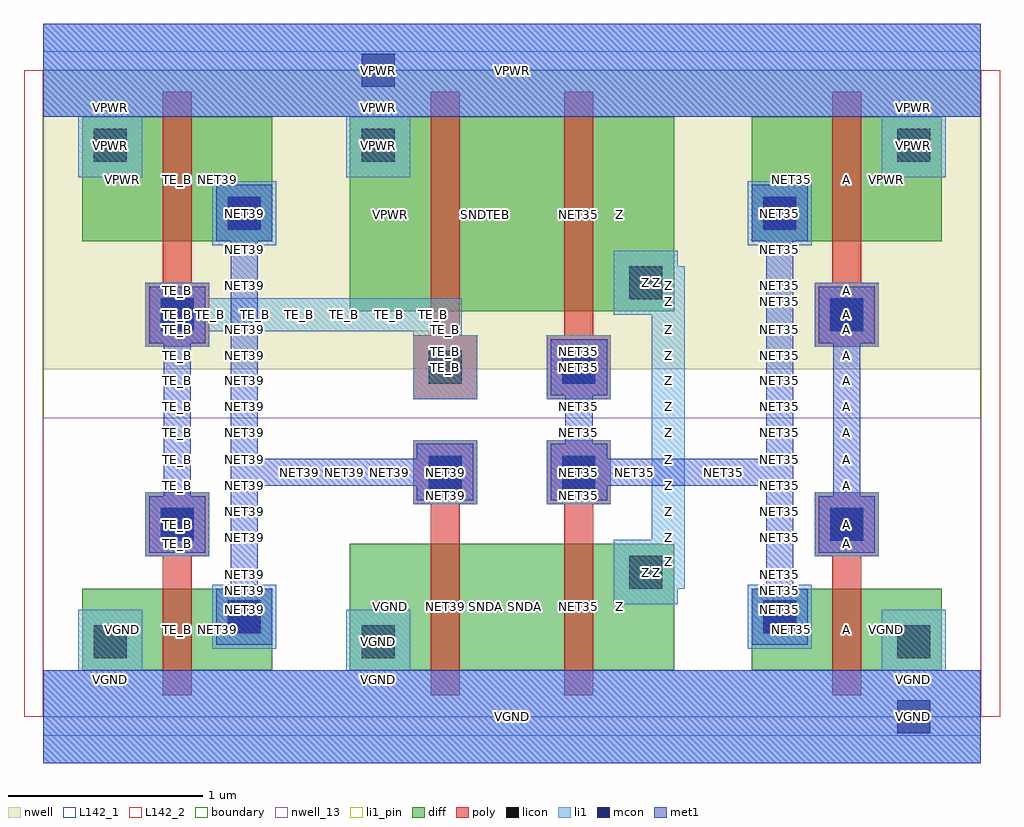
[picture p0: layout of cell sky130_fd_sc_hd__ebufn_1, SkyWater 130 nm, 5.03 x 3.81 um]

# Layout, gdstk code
import gdstk
lib = gdstk.Library(unit=1e-6, precision=1e-09)
def R(c, l, rs):  # rectangles x0, y0, x1, y1
    for r in rs: c.add(gdstk.rectangle(r[:2], r[2:], *l))
def P(c, l, *ps):  # polygons
    for p in ps: c.add(gdstk.Polygon(p, *l))
nwell_13 = (64, 13)
nwell = (64, 20)
diff = (65, 20)
poly = (66, 20)
licon = (66, 44)
li1_pin = (67, 16)
li1 = (67, 20)
mcon = (67, 44)
met1 = (68, 20)
L142_1 = (142, 1)
L142_2 = (142, 2)
boundary = (235, 4)

sky130_fd_sc_hd__ebufn_1 = lib.new_cell('sky130_fd_sc_hd__ebufn_1')
R(sky130_fd_sc_hd__ebufn_1, nwell_13, [(0,0,4.83,1.54)])
R(sky130_fd_sc_hd__ebufn_1, nwell, [(0,1.79,4.83,3.33)])
R(sky130_fd_sc_hd__ebufn_1, diff, [(0.2,0.24,1.18,0.66), (0.2,0.24,0.615,0.66), (0.615,0.24,1.18,0.66), (1.58,0.24,3.25,0.89), (1.58,0.24,1.995,0.89), (1.995,0.24,2.685,0.89), (2.685,0.24,3.25,0.89), (3.65,0.24,4.63,0.66), (3.65,0.24,4.065,0.66), (4.065,0.24,4.63,0.66), (1.58,2.09,3.25,3.09), (1.58,2.09,1.995,3.09), (1.995,2.09,2.685,3.09), (2.685,2.09,3.25,3.09), (0.2,2.45,1.18,3.09), (0.2,2.45,0.615,3.09), (0.615,2.45,1.18,3.09), (3.65,2.45,4.63,3.09), (3.65,2.45,4.065,3.09), (4.065,2.45,4.63,3.09)])
P(sky130_fd_sc_hd__ebufn_1, poly, [(1.995,0.11),(1.995,1.095),(1.905,1.095),(1.905,1.425),(2.235,1.425),(2.235,1.095),(2.145,1.095),(2.145,0.11)],
  [(0.615,0.11),(0.615,0.825),(0.525,0.825),(0.525,1.155),(0.855,1.155),(0.855,0.825),(0.765,0.825),(0.765,0.11)],
  [(0.525,1.905),(0.525,2.235),(0.615,2.235),(0.615,3.22),(0.765,3.22),(0.765,2.235),(0.855,2.235),(0.855,1.905)],
  [(1.905,1.635),(1.905,1.965),(1.995,1.965),(1.995,3.22),(2.145,3.22),(2.145,1.965),(2.235,1.965),(2.235,1.635)],
  [(2.685,0.11),(2.685,1.095),(2.595,1.095),(2.595,1.425),(2.925,1.425),(2.925,1.095),(2.835,1.095),(2.835,0.11)],
  [(2.595,1.635),(2.595,1.965),(2.685,1.965),(2.685,3.22),(2.835,3.22),(2.835,1.965),(2.925,1.965),(2.925,1.635)],
  [(4.065,0.11),(4.065,0.825),(3.975,0.825),(3.975,1.155),(4.305,1.155),(4.305,0.825),(4.215,0.825),(4.215,0.11)],
  [(3.975,1.905),(3.975,2.235),(4.065,2.235),(4.065,3.22),(4.215,3.22),(4.215,2.235),(4.305,2.235),(4.305,1.905)])
R(sky130_fd_sc_hd__ebufn_1, licon, [(0.26,0.3,0.43,0.47), (1.64,0.3,1.81,0.47), (4.4,0.3,4.57,0.47), (0.95,0.43,1.12,0.6), (3.71,0.43,3.88,0.6), (3.02,0.66,3.19,0.83), (0.605,0.905,0.775,1.075), (4.055,0.905,4.225,1.075), (1.985,1.175,2.155,1.345), (2.675,1.175,2.845,1.345), (1.985,1.715,2.155,1.885), (2.675,1.715,2.845,1.885), (0.605,1.985,0.775,2.155), (4.055,1.985,4.225,2.155), (3.02,2.15,3.19,2.32), (0.95,2.51,1.12,2.68), (3.71,2.51,3.88,2.68), (0.26,2.86,0.43,3.03), (1.64,2.86,1.81,3.03), (4.4,2.86,4.57,3.03)])
R(sky130_fd_sc_hd__ebufn_1, li1_pin, [(0,-0.24,4.83,0.24), (3.975,1.905,4.305,2.235), (0,3.09,4.83,3.57)])
P(sky130_fd_sc_hd__ebufn_1, li1_pin, [(2.94,0.58),(2.94,0.91),(3.135,0.91),(3.135,2.07),(2.94,2.07),(2.94,2.4),(3.27,2.4),(3.27,2.32),(3.305,2.32),(3.305,0.66),(3.27,0.66),(3.27,0.58)],
  [(1.905,1.635),(1.905,1.965),(1.985,1.965),(1.985,1.985),(0.855,1.985),(0.855,1.905),(0.525,1.905),(0.525,2.235),(0.855,2.235),(0.855,2.155),(2.155,2.155),(2.155,1.965),(2.235,1.965),(2.235,1.635)])
R(sky130_fd_sc_hd__ebufn_1, li1, [(0.87,0.35,1.2,0.68), (3.63,0.35,3.96,0.68), (0.525,0.825,0.855,1.155), (3.975,0.825,4.305,1.155), (1.905,1.095,2.235,1.425), (2.595,1.095,2.925,1.425), (2.595,1.635,2.925,1.965), (3.975,1.905,4.305,2.235), (1.905,1.965,1.985,1.985), (0.87,2.43,1.2,2.76), (3.63,2.43,3.96,2.76)])
P(sky130_fd_sc_hd__ebufn_1, li1, [(0.18,2.78),(0.18,3.09),(0,3.09),(0,3.57),(4.83,3.57),(4.83,3.09),(4.65,3.09),(4.65,2.78),(4.32,2.78),(4.32,3.09),(1.89,3.09),(1.89,2.78),(1.56,2.78),(1.56,3.09),(0.51,3.09),(0.51,2.78)],
  [(0,-0.24),(0,0.24),(0.18,0.24),(0.18,0.55),(0.51,0.55),(0.51,0.24),(1.56,0.24),(1.56,0.55),(1.89,0.55),(1.89,0.24),(4.32,0.24),(4.32,0.55),(4.65,0.55),(4.65,0.24),(4.83,0.24),(4.83,-0.24)],
  [(1.905,1.635),(1.905,1.965),(1.985,1.965),(1.985,1.985),(0.855,1.985),(0.855,1.905),(0.525,1.905),(0.525,2.235),(0.855,2.235),(0.855,2.155),(2.155,2.155),(2.155,1.965),(2.235,1.965),(2.235,1.635)],
  [(2.94,0.58),(2.94,0.91),(3.135,0.91),(3.135,2.07),(2.94,2.07),(2.94,2.4),(3.27,2.4),(3.27,2.32),(3.305,2.32),(3.305,0.66),(3.27,0.66),(3.27,0.58)])
R(sky130_fd_sc_hd__ebufn_1, mcon, [(4.4,-0.085,4.57,0.085), (0.95,0.43,1.12,0.6), (3.71,0.43,3.88,0.6), (0.605,0.905,0.775,1.075), (4.055,0.905,4.225,1.075), (1.985,1.175,2.155,1.345), (2.675,1.175,2.845,1.345), (2.675,1.715,2.845,1.885), (0.605,1.985,0.775,2.155), (4.055,1.985,4.225,2.155), (0.95,2.51,1.12,2.68), (3.71,2.51,3.88,2.68), (1.64,3.245,1.81,3.415)])
R(sky130_fd_sc_hd__ebufn_1, met1, [(0,-0.24,4.83,0.24), (0,3.09,4.83,3.57)])
P(sky130_fd_sc_hd__ebufn_1, met1, [(0.89,0.37),(0.89,0.66),(0.965,0.66),(0.965,2.45),(0.89,2.45),(0.89,2.74),(1.18,2.74),(1.18,2.45),(1.105,2.45),(1.105,1.33),(1.925,1.33),(1.925,1.405),(2.215,1.405),(2.215,1.115),(1.925,1.115),(1.925,1.19),(1.105,1.19),(1.105,0.66),(1.18,0.66),(1.18,0.37)],
  [(0.545,0.845),(0.545,1.135),(0.62,1.135),(0.62,1.925),(0.545,1.925),(0.545,2.215),(0.835,2.215),(0.835,1.925),(0.76,1.925),(0.76,1.135),(0.835,1.135),(0.835,0.845)],
  [(3.65,0.37),(3.65,0.66),(3.725,0.66),(3.725,1.19),(2.905,1.19),(2.905,1.115),(2.615,1.115),(2.615,1.405),(2.69,1.405),(2.69,1.655),(2.615,1.655),(2.615,1.945),(2.905,1.945),(2.905,1.655),(2.83,1.655),(2.83,1.405),(2.905,1.405),(2.905,1.33),(3.725,1.33),(3.725,2.45),(3.65,2.45),(3.65,2.74),(3.94,2.74),(3.94,2.45),(3.865,2.45),(3.865,0.66),(3.94,0.66),(3.94,0.37)],
  [(3.995,0.845),(3.995,1.135),(4.07,1.135),(4.07,1.925),(3.995,1.925),(3.995,2.215),(4.285,2.215),(4.285,1.925),(4.21,1.925),(4.21,1.135),(4.285,1.135),(4.285,0.845)])
R(sky130_fd_sc_hd__ebufn_1, L142_1, [(0,-0.1,4.83,0), (0,3.33,4.83,3.43)])
R(sky130_fd_sc_hd__ebufn_1, L142_2, [(-0.1,0,0,3.33), (4.83,0,4.93,3.33)])
R(sky130_fd_sc_hd__ebufn_1, boundary, [(0,0,4.83,3.33)])
sky130_fd_sc_hd__ebufn_1.add(gdstk.Label('NET35', (3.857,0.45), layer=65, texttype=20))
sky130_fd_sc_hd__ebufn_1.add(gdstk.Label('VGND', (4.347,0.45), layer=65, texttype=20))
sky130_fd_sc_hd__ebufn_1.add(gdstk.Label('VGND', (0.407,0.45), layer=65, texttype=20))
sky130_fd_sc_hd__ebufn_1.add(gdstk.Label('NET39', (0.897,0.45), layer=65, texttype=20))
sky130_fd_sc_hd__ebufn_1.add(gdstk.Label('VGND', (1.787,0.565), layer=65, texttype=20))
sky130_fd_sc_hd__ebufn_1.add(gdstk.Label('SNDA', (2.277,0.565), layer=65, texttype=20))
sky130_fd_sc_hd__ebufn_1.add(gdstk.Label('SNDA', (2.477,0.565), layer=65, texttype=20))
sky130_fd_sc_hd__ebufn_1.add(gdstk.Label('Z', (2.967,0.565), layer=65, texttype=20))
sky130_fd_sc_hd__ebufn_1.add(gdstk.Label('NET35', (3.857,0.45), layer=65, texttype=20))
sky130_fd_sc_hd__ebufn_1.add(gdstk.Label('VGND', (4.347,0.45), layer=65, texttype=20))
sky130_fd_sc_hd__ebufn_1.add(gdstk.Label('VGND', (0.407,0.45), layer=65, texttype=20))
sky130_fd_sc_hd__ebufn_1.add(gdstk.Label('NET39', (0.897,0.45), layer=65, texttype=20))
sky130_fd_sc_hd__ebufn_1.add(gdstk.Label('VGND', (1.787,0.565), layer=65, texttype=20))
sky130_fd_sc_hd__ebufn_1.add(gdstk.Label('SNDA', (2.277,0.565), layer=65, texttype=20))
sky130_fd_sc_hd__ebufn_1.add(gdstk.Label('SNDA', (2.477,0.565), layer=65, texttype=20))
sky130_fd_sc_hd__ebufn_1.add(gdstk.Label('Z', (2.967,0.565), layer=65, texttype=20))
sky130_fd_sc_hd__ebufn_1.add(gdstk.Label('NET35', (3.795,0.515), layer=65, texttype=20))
sky130_fd_sc_hd__ebufn_1.add(gdstk.Label('VGND', (4.485,0.385), layer=65, texttype=20))
sky130_fd_sc_hd__ebufn_1.add(gdstk.Label('VGND', (0.345,0.385), layer=65, texttype=20))
sky130_fd_sc_hd__ebufn_1.add(gdstk.Label('VGND', (1.725,0.385), layer=65, texttype=20))
sky130_fd_sc_hd__ebufn_1.add(gdstk.Label('NET39', (1.035,0.515), layer=65, texttype=20))
sky130_fd_sc_hd__ebufn_1.add(gdstk.Label('Z', (3.105,0.745), layer=65, texttype=20))
sky130_fd_sc_hd__ebufn_1.add(gdstk.Label('VPWR', (1.787,2.59), layer=65, texttype=20))
sky130_fd_sc_hd__ebufn_1.add(gdstk.Label('SNDTEB', (2.277,2.59), layer=65, texttype=20))
sky130_fd_sc_hd__ebufn_1.add(gdstk.Label('NET35', (3.857,2.77), layer=65, texttype=20))
sky130_fd_sc_hd__ebufn_1.add(gdstk.Label('VPWR', (4.347,2.77), layer=65, texttype=20))
sky130_fd_sc_hd__ebufn_1.add(gdstk.Label('VPWR', (0.407,2.77), layer=65, texttype=20))
sky130_fd_sc_hd__ebufn_1.add(gdstk.Label('NET39', (0.897,2.77), layer=65, texttype=20))
sky130_fd_sc_hd__ebufn_1.add(gdstk.Label('SNDTEB', (2.477,2.59), layer=65, texttype=20))
sky130_fd_sc_hd__ebufn_1.add(gdstk.Label('Z', (2.967,2.59), layer=65, texttype=20))
sky130_fd_sc_hd__ebufn_1.add(gdstk.Label('VPWR', (1.787,2.59), layer=65, texttype=20))
sky130_fd_sc_hd__ebufn_1.add(gdstk.Label('SNDTEB', (2.277,2.59), layer=65, texttype=20))
sky130_fd_sc_hd__ebufn_1.add(gdstk.Label('NET35', (3.857,2.77), layer=65, texttype=20))
sky130_fd_sc_hd__ebufn_1.add(gdstk.Label('VPWR', (4.347,2.77), layer=65, texttype=20))
sky130_fd_sc_hd__ebufn_1.add(gdstk.Label('VPWR', (0.407,2.77), layer=65, texttype=20))
sky130_fd_sc_hd__ebufn_1.add(gdstk.Label('NET39', (0.897,2.77), layer=65, texttype=20))
sky130_fd_sc_hd__ebufn_1.add(gdstk.Label('SNDTEB', (2.477,2.59), layer=65, texttype=20))
sky130_fd_sc_hd__ebufn_1.add(gdstk.Label('Z', (2.967,2.59), layer=65, texttype=20))
sky130_fd_sc_hd__ebufn_1.add(gdstk.Label('NET35', (3.795,2.595), layer=65, texttype=20))
sky130_fd_sc_hd__ebufn_1.add(gdstk.Label('NET39', (1.035,2.595), layer=65, texttype=20))
sky130_fd_sc_hd__ebufn_1.add(gdstk.Label('Z', (3.105,2.235), layer=65, texttype=20))
sky130_fd_sc_hd__ebufn_1.add(gdstk.Label('VPWR', (1.725,2.945), layer=65, texttype=20))
sky130_fd_sc_hd__ebufn_1.add(gdstk.Label('VPWR', (0.345,2.945), layer=65, texttype=20))
sky130_fd_sc_hd__ebufn_1.add(gdstk.Label('VPWR', (4.485,2.945), layer=65, texttype=20))
sky130_fd_sc_hd__ebufn_1.add(gdstk.Label('A', (4.14,0.45), layer=66, texttype=20))
sky130_fd_sc_hd__ebufn_1.add(gdstk.Label('TE_B', (0.69,0.45), layer=66, texttype=20))
sky130_fd_sc_hd__ebufn_1.add(gdstk.Label('NET39', (2.07,0.565), layer=66, texttype=20))
sky130_fd_sc_hd__ebufn_1.add(gdstk.Label('TE_B', (2.07,2.59), layer=66, texttype=20))
sky130_fd_sc_hd__ebufn_1.add(gdstk.Label('A', (4.14,2.77), layer=66, texttype=20))
sky130_fd_sc_hd__ebufn_1.add(gdstk.Label('TE_B', (0.69,2.77), layer=66, texttype=20))
sky130_fd_sc_hd__ebufn_1.add(gdstk.Label('NET35', (2.76,2.59), layer=66, texttype=20))
sky130_fd_sc_hd__ebufn_1.add(gdstk.Label('NET35', (2.76,0.565), layer=66, texttype=20))
sky130_fd_sc_hd__ebufn_1.add(gdstk.Label('A', (4.14,0.45), layer=66, texttype=20))
sky130_fd_sc_hd__ebufn_1.add(gdstk.Label('TE_B', (0.69,0.45), layer=66, texttype=20))
sky130_fd_sc_hd__ebufn_1.add(gdstk.Label('NET39', (2.07,0.565), layer=66, texttype=20))
sky130_fd_sc_hd__ebufn_1.add(gdstk.Label('TE_B', (2.07,2.59), layer=66, texttype=20))
sky130_fd_sc_hd__ebufn_1.add(gdstk.Label('A', (4.14,2.77), layer=66, texttype=20))
sky130_fd_sc_hd__ebufn_1.add(gdstk.Label('TE_B', (0.69,2.77), layer=66, texttype=20))
sky130_fd_sc_hd__ebufn_1.add(gdstk.Label('NET35', (2.76,2.59), layer=66, texttype=20))
sky130_fd_sc_hd__ebufn_1.add(gdstk.Label('NET35', (2.76,0.565), layer=66, texttype=20))
sky130_fd_sc_hd__ebufn_1.add(gdstk.Label('NET35', (2.76,1.14), layer=66, texttype=20))
sky130_fd_sc_hd__ebufn_1.add(gdstk.Label('NET35', (2.76,1.88), layer=66, texttype=20))
sky130_fd_sc_hd__ebufn_1.add(gdstk.Label('NET39', (2.07,1.14), layer=66, texttype=20))
sky130_fd_sc_hd__ebufn_1.add(gdstk.Label('A', (4.14,0.89), layer=66, texttype=20))
sky130_fd_sc_hd__ebufn_1.add(gdstk.Label('A', (4.14,2.195), layer=66, texttype=20))
sky130_fd_sc_hd__ebufn_1.add(gdstk.Label('TE_B', (0.69,0.89), layer=66, texttype=20))
sky130_fd_sc_hd__ebufn_1.add(gdstk.Label('TE_B', (0.69,2.195), layer=66, texttype=20))
sky130_fd_sc_hd__ebufn_1.add(gdstk.Label('TE_B', (2.07,1.88), layer=66, texttype=20))
sky130_fd_sc_hd__ebufn_1.add(gdstk.Label('NET35', (2.76,1.26), layer=66, texttype=20))
sky130_fd_sc_hd__ebufn_1.add(gdstk.Label('NET35', (2.76,1.8), layer=66, texttype=20))
sky130_fd_sc_hd__ebufn_1.add(gdstk.Label('NET39', (2.07,1.26), layer=66, texttype=20))
sky130_fd_sc_hd__ebufn_1.add(gdstk.Label('A', (4.14,0.99), layer=66, texttype=20))
sky130_fd_sc_hd__ebufn_1.add(gdstk.Label('A', (4.14,2.07), layer=66, texttype=20))
sky130_fd_sc_hd__ebufn_1.add(gdstk.Label('TE_B', (0.69,0.99), layer=66, texttype=20))
sky130_fd_sc_hd__ebufn_1.add(gdstk.Label('TE_B', (0.69,2.07), layer=66, texttype=20))
sky130_fd_sc_hd__ebufn_1.add(gdstk.Label('TE_B', (2.07,1.8), layer=66, texttype=20))
sky130_fd_sc_hd__ebufn_1.add(gdstk.Label('NET35', (3.795,2.595), layer=66, texttype=44))
sky130_fd_sc_hd__ebufn_1.add(gdstk.Label('NET39', (1.035,2.595), layer=66, texttype=44))
sky130_fd_sc_hd__ebufn_1.add(gdstk.Label('Z', (3.105,2.235), layer=66, texttype=44))
sky130_fd_sc_hd__ebufn_1.add(gdstk.Label('VPWR', (1.725,2.945), layer=66, texttype=44))
sky130_fd_sc_hd__ebufn_1.add(gdstk.Label('VPWR', (0.345,2.945), layer=66, texttype=44))
sky130_fd_sc_hd__ebufn_1.add(gdstk.Label('VPWR', (4.485,2.945), layer=66, texttype=44))
sky130_fd_sc_hd__ebufn_1.add(gdstk.Label('NET35', (3.795,0.515), layer=66, texttype=44))
sky130_fd_sc_hd__ebufn_1.add(gdstk.Label('VGND', (4.485,0.385), layer=66, texttype=44))
sky130_fd_sc_hd__ebufn_1.add(gdstk.Label('VGND', (0.345,0.385), layer=66, texttype=44))
sky130_fd_sc_hd__ebufn_1.add(gdstk.Label('VGND', (1.725,0.385), layer=66, texttype=44))
sky130_fd_sc_hd__ebufn_1.add(gdstk.Label('NET39', (1.035,0.515), layer=66, texttype=44))
sky130_fd_sc_hd__ebufn_1.add(gdstk.Label('Z', (3.105,0.745), layer=66, texttype=44))
sky130_fd_sc_hd__ebufn_1.add(gdstk.Label('NET35', (2.76,1.26), layer=66, texttype=44))
sky130_fd_sc_hd__ebufn_1.add(gdstk.Label('NET35', (2.76,1.8), layer=66, texttype=44))
sky130_fd_sc_hd__ebufn_1.add(gdstk.Label('NET39', (2.07,1.26), layer=66, texttype=44))
sky130_fd_sc_hd__ebufn_1.add(gdstk.Label('A', (4.14,0.99), layer=66, texttype=44))
sky130_fd_sc_hd__ebufn_1.add(gdstk.Label('A', (4.14,2.07), layer=66, texttype=44))
sky130_fd_sc_hd__ebufn_1.add(gdstk.Label('TE_B', (0.69,0.99), layer=66, texttype=44))
sky130_fd_sc_hd__ebufn_1.add(gdstk.Label('TE_B', (0.69,2.07), layer=66, texttype=44))
sky130_fd_sc_hd__ebufn_1.add(gdstk.Label('TE_B', (2.07,1.8), layer=66, texttype=44))
sky130_fd_sc_hd__ebufn_1.add(gdstk.Label('VPWR', (2.415,3.33), layer=67, texttype=20))
sky130_fd_sc_hd__ebufn_1.add(gdstk.Label('VGND', (2.415,0), layer=67, texttype=20))
sky130_fd_sc_hd__ebufn_1.add(gdstk.Label('VPWR', (2.415,3.33), layer=67, texttype=20))
sky130_fd_sc_hd__ebufn_1.add(gdstk.Label('VGND', (2.415,0), layer=67, texttype=20))
sky130_fd_sc_hd__ebufn_1.add(gdstk.Label('VGND', (4.485,0.192), layer=67, texttype=20))
sky130_fd_sc_hd__ebufn_1.add(gdstk.Label('VGND', (0.345,0.192), layer=67, texttype=20))
sky130_fd_sc_hd__ebufn_1.add(gdstk.Label('VGND', (1.725,0.192), layer=67, texttype=20))
sky130_fd_sc_hd__ebufn_1.add(gdstk.Label('Z', (3.162,0.745), layer=67, texttype=20))
sky130_fd_sc_hd__ebufn_1.add(gdstk.Label('Z', (3.22,0.8), layer=67, texttype=20))
sky130_fd_sc_hd__ebufn_1.add(gdstk.Label('Z', (3.22,0.922), layer=67, texttype=20))
sky130_fd_sc_hd__ebufn_1.add(gdstk.Label('Z', (3.22,1.057), layer=67, texttype=20))
sky130_fd_sc_hd__ebufn_1.add(gdstk.Label('Z', (3.22,1.192), layer=67, texttype=20))
sky130_fd_sc_hd__ebufn_1.add(gdstk.Label('Z', (3.22,1.327), layer=67, texttype=20))
sky130_fd_sc_hd__ebufn_1.add(gdstk.Label('Z', (3.22,1.462), layer=67, texttype=20))
sky130_fd_sc_hd__ebufn_1.add(gdstk.Label('Z', (3.22,1.597), layer=67, texttype=20))
sky130_fd_sc_hd__ebufn_1.add(gdstk.Label('Z', (3.22,1.732), layer=67, texttype=20))
sky130_fd_sc_hd__ebufn_1.add(gdstk.Label('Z', (3.22,1.862), layer=67, texttype=20))
sky130_fd_sc_hd__ebufn_1.add(gdstk.Label('Z', (3.22,1.997), layer=67, texttype=20))
sky130_fd_sc_hd__ebufn_1.add(gdstk.Label('Z', (3.22,2.137), layer=67, texttype=20))
sky130_fd_sc_hd__ebufn_1.add(gdstk.Label('Z', (3.22,2.22), layer=67, texttype=20))
sky130_fd_sc_hd__ebufn_1.add(gdstk.Label('Z', (3.162,2.235), layer=67, texttype=20))
sky130_fd_sc_hd__ebufn_1.add(gdstk.Label('VPWR', (1.725,3.137), layer=67, texttype=20))
sky130_fd_sc_hd__ebufn_1.add(gdstk.Label('VPWR', (0.345,3.137), layer=67, texttype=20))
sky130_fd_sc_hd__ebufn_1.add(gdstk.Label('VPWR', (4.485,3.137), layer=67, texttype=20))
sky130_fd_sc_hd__ebufn_1.add(gdstk.Label('TE_B', (0.747,2.07), layer=67, texttype=20))
sky130_fd_sc_hd__ebufn_1.add(gdstk.Label('TE_B', (0.862,2.07), layer=67, texttype=20))
sky130_fd_sc_hd__ebufn_1.add(gdstk.Label('TE_B', (0.977,2.07), layer=67, texttype=20))
sky130_fd_sc_hd__ebufn_1.add(gdstk.Label('TE_B', (1.092,2.07), layer=67, texttype=20))
sky130_fd_sc_hd__ebufn_1.add(gdstk.Label('TE_B', (1.207,2.07), layer=67, texttype=20))
sky130_fd_sc_hd__ebufn_1.add(gdstk.Label('TE_B', (1.322,2.07), layer=67, texttype=20))
sky130_fd_sc_hd__ebufn_1.add(gdstk.Label('TE_B', (1.437,2.07), layer=67, texttype=20))
sky130_fd_sc_hd__ebufn_1.add(gdstk.Label('TE_B', (1.552,2.07), layer=67, texttype=20))
sky130_fd_sc_hd__ebufn_1.add(gdstk.Label('TE_B', (1.667,2.07), layer=67, texttype=20))
sky130_fd_sc_hd__ebufn_1.add(gdstk.Label('TE_B', (1.782,2.07), layer=67, texttype=20))
sky130_fd_sc_hd__ebufn_1.add(gdstk.Label('TE_B', (1.897,2.07), layer=67, texttype=20))
sky130_fd_sc_hd__ebufn_1.add(gdstk.Label('TE_B', (2.012,2.07), layer=67, texttype=20))
sky130_fd_sc_hd__ebufn_1.add(gdstk.Label('TE_B', (2.07,1.997), layer=67, texttype=20))
sky130_fd_sc_hd__ebufn_1.add(gdstk.Label('TE_B', (2.07,1.862), layer=67, texttype=20))
sky130_fd_sc_hd__ebufn_1.add(gdstk.Label('NET35', (3.795,0.515), layer=67, texttype=20))
sky130_fd_sc_hd__ebufn_1.add(gdstk.Label('NET35', (3.795,0.515), layer=67, texttype=20))
sky130_fd_sc_hd__ebufn_1.add(gdstk.Label('NET35', (3.795,2.595), layer=67, texttype=20))
sky130_fd_sc_hd__ebufn_1.add(gdstk.Label('NET35', (3.795,2.595), layer=67, texttype=20))
sky130_fd_sc_hd__ebufn_1.add(gdstk.Label('NET35', (2.76,1.26), layer=67, texttype=20))
sky130_fd_sc_hd__ebufn_1.add(gdstk.Label('NET35', (2.76,1.26), layer=67, texttype=20))
sky130_fd_sc_hd__ebufn_1.add(gdstk.Label('NET35', (2.76,1.8), layer=67, texttype=20))
sky130_fd_sc_hd__ebufn_1.add(gdstk.Label('NET35', (2.76,1.8), layer=67, texttype=20))
sky130_fd_sc_hd__ebufn_1.add(gdstk.Label('VGND', (4.485,0.385), layer=67, texttype=20))
sky130_fd_sc_hd__ebufn_1.add(gdstk.Label('VGND', (4.485,0), layer=67, texttype=20))
sky130_fd_sc_hd__ebufn_1.add(gdstk.Label('VGND', (0.345,0.385), layer=67, texttype=20))
sky130_fd_sc_hd__ebufn_1.add(gdstk.Label('VGND', (1.725,0.385), layer=67, texttype=20))
sky130_fd_sc_hd__ebufn_1.add(gdstk.Label('NET39', (1.035,0.515), layer=67, texttype=20))
sky130_fd_sc_hd__ebufn_1.add(gdstk.Label('NET39', (1.035,0.515), layer=67, texttype=20))
sky130_fd_sc_hd__ebufn_1.add(gdstk.Label('NET39', (1.035,2.595), layer=67, texttype=20))
sky130_fd_sc_hd__ebufn_1.add(gdstk.Label('NET39', (1.035,2.595), layer=67, texttype=20))
sky130_fd_sc_hd__ebufn_1.add(gdstk.Label('NET39', (2.07,1.26), layer=67, texttype=20))
sky130_fd_sc_hd__ebufn_1.add(gdstk.Label('NET39', (2.07,1.26), layer=67, texttype=20))
sky130_fd_sc_hd__ebufn_1.add(gdstk.Label('Z', (3.105,0.745), layer=67, texttype=20))
sky130_fd_sc_hd__ebufn_1.add(gdstk.Label('Z', (3.105,2.235), layer=67, texttype=20))
sky130_fd_sc_hd__ebufn_1.add(gdstk.Label('VPWR', (1.725,2.945), layer=67, texttype=20))
sky130_fd_sc_hd__ebufn_1.add(gdstk.Label('VPWR', (1.725,3.33), layer=67, texttype=20))
sky130_fd_sc_hd__ebufn_1.add(gdstk.Label('VPWR', (0.345,2.945), layer=67, texttype=20))
sky130_fd_sc_hd__ebufn_1.add(gdstk.Label('VPWR', (4.485,2.945), layer=67, texttype=20))
sky130_fd_sc_hd__ebufn_1.add(gdstk.Label('A', (4.14,0.99), layer=67, texttype=20))
sky130_fd_sc_hd__ebufn_1.add(gdstk.Label('A', (4.14,0.99), layer=67, texttype=20))
sky130_fd_sc_hd__ebufn_1.add(gdstk.Label('A', (4.14,2.07), layer=67, texttype=20))
sky130_fd_sc_hd__ebufn_1.add(gdstk.Label('A', (4.14,2.07), layer=67, texttype=20))
sky130_fd_sc_hd__ebufn_1.add(gdstk.Label('TE_B', (0.69,0.99), layer=67, texttype=20))
sky130_fd_sc_hd__ebufn_1.add(gdstk.Label('TE_B', (0.69,0.99), layer=67, texttype=20))
sky130_fd_sc_hd__ebufn_1.add(gdstk.Label('TE_B', (0.69,2.07), layer=67, texttype=20))
sky130_fd_sc_hd__ebufn_1.add(gdstk.Label('TE_B', (0.69,2.07), layer=67, texttype=20))
sky130_fd_sc_hd__ebufn_1.add(gdstk.Label('TE_B', (2.07,1.8), layer=67, texttype=20))
sky130_fd_sc_hd__ebufn_1.add(gdstk.Label('Z', (3.105,0.745), layer=67, texttype=5))
sky130_fd_sc_hd__ebufn_1.add(gdstk.Label('A', (4.14,2.07), layer=67, texttype=5))
sky130_fd_sc_hd__ebufn_1.add(gdstk.Label('TE_B', (0.69,2.07), layer=67, texttype=5))
sky130_fd_sc_hd__ebufn_1.add(gdstk.Label('VGND', (2.415,0), layer=67, texttype=5))
sky130_fd_sc_hd__ebufn_1.add(gdstk.Label('VPWR', (2.415,3.33), layer=67, texttype=5))
sky130_fd_sc_hd__ebufn_1.add(gdstk.Label('NET35', (3.795,0.515), layer=67, texttype=44))
sky130_fd_sc_hd__ebufn_1.add(gdstk.Label('NET35', (3.795,2.595), layer=67, texttype=44))
sky130_fd_sc_hd__ebufn_1.add(gdstk.Label('NET35', (2.76,1.26), layer=67, texttype=44))
sky130_fd_sc_hd__ebufn_1.add(gdstk.Label('NET35', (2.76,1.8), layer=67, texttype=44))
sky130_fd_sc_hd__ebufn_1.add(gdstk.Label('VGND', (4.485,0), layer=67, texttype=44))
sky130_fd_sc_hd__ebufn_1.add(gdstk.Label('NET39', (1.035,0.515), layer=67, texttype=44))
sky130_fd_sc_hd__ebufn_1.add(gdstk.Label('NET39', (1.035,2.595), layer=67, texttype=44))
sky130_fd_sc_hd__ebufn_1.add(gdstk.Label('NET39', (2.07,1.26), layer=67, texttype=44))
sky130_fd_sc_hd__ebufn_1.add(gdstk.Label('VPWR', (1.725,3.33), layer=67, texttype=44))
sky130_fd_sc_hd__ebufn_1.add(gdstk.Label('A', (4.14,0.99), layer=67, texttype=44))
sky130_fd_sc_hd__ebufn_1.add(gdstk.Label('A', (4.14,2.07), layer=67, texttype=44))
sky130_fd_sc_hd__ebufn_1.add(gdstk.Label('TE_B', (0.69,0.99), layer=67, texttype=44))
sky130_fd_sc_hd__ebufn_1.add(gdstk.Label('TE_B', (0.69,2.07), layer=67, texttype=44))
sky130_fd_sc_hd__ebufn_1.add(gdstk.Label('VPWR', (2.415,3.33), layer=68, texttype=20))
sky130_fd_sc_hd__ebufn_1.add(gdstk.Label('VGND', (2.415,0), layer=68, texttype=20))
sky130_fd_sc_hd__ebufn_1.add(gdstk.Label('VPWR', (2.415,3.33), layer=68, texttype=20))
sky130_fd_sc_hd__ebufn_1.add(gdstk.Label('VGND', (2.415,0), layer=68, texttype=20))
sky130_fd_sc_hd__ebufn_1.add(gdstk.Label('NET35', (3.795,0.55), layer=68, texttype=20))
sky130_fd_sc_hd__ebufn_1.add(gdstk.Label('NET35', (3.795,0.652), layer=68, texttype=20))
sky130_fd_sc_hd__ebufn_1.add(gdstk.Label('NET35', (3.795,0.732), layer=68, texttype=20))
sky130_fd_sc_hd__ebufn_1.add(gdstk.Label('NET35', (3.795,0.8), layer=68, texttype=20))
sky130_fd_sc_hd__ebufn_1.add(gdstk.Label('NET35', (3.795,0.922), layer=68, texttype=20))
sky130_fd_sc_hd__ebufn_1.add(gdstk.Label('NET35', (3.795,1.057), layer=68, texttype=20))
sky130_fd_sc_hd__ebufn_1.add(gdstk.Label('NET35', (3.795,1.192), layer=68, texttype=20))
sky130_fd_sc_hd__ebufn_1.add(gdstk.Label('NET35', (3.795,1.327), layer=68, texttype=20))
sky130_fd_sc_hd__ebufn_1.add(gdstk.Label('NET35', (3.737,1.26), layer=68, texttype=20))
sky130_fd_sc_hd__ebufn_1.add(gdstk.Label('NET35', (3.795,1.462), layer=68, texttype=20))
sky130_fd_sc_hd__ebufn_1.add(gdstk.Label('NET35', (3.795,1.597), layer=68, texttype=20))
sky130_fd_sc_hd__ebufn_1.add(gdstk.Label('NET35', (3.795,1.732), layer=68, texttype=20))
sky130_fd_sc_hd__ebufn_1.add(gdstk.Label('NET35', (3.795,1.862), layer=68, texttype=20))
sky130_fd_sc_hd__ebufn_1.add(gdstk.Label('NET35', (3.795,1.997), layer=68, texttype=20))
sky130_fd_sc_hd__ebufn_1.add(gdstk.Label('NET35', (3.795,2.137), layer=68, texttype=20))
sky130_fd_sc_hd__ebufn_1.add(gdstk.Label('NET35', (3.795,2.22), layer=68, texttype=20))
sky130_fd_sc_hd__ebufn_1.add(gdstk.Label('NET35', (3.795,2.287), layer=68, texttype=20))
sky130_fd_sc_hd__ebufn_1.add(gdstk.Label('NET35', (3.795,2.407), layer=68, texttype=20))
sky130_fd_sc_hd__ebufn_1.add(gdstk.Label('NET35', (3.795,2.535), layer=68, texttype=20))
sky130_fd_sc_hd__ebufn_1.add(gdstk.Label('NET35', (3.622,1.26), layer=68, texttype=20))
sky130_fd_sc_hd__ebufn_1.add(gdstk.Label('NET35', (3.507,1.26), layer=68, texttype=20))
sky130_fd_sc_hd__ebufn_1.add(gdstk.Label('NET35', (3.392,1.26), layer=68, texttype=20))
sky130_fd_sc_hd__ebufn_1.add(gdstk.Label('NET35', (3.277,1.26), layer=68, texttype=20))
sky130_fd_sc_hd__ebufn_1.add(gdstk.Label('NET35', (3.162,1.26), layer=68, texttype=20))
sky130_fd_sc_hd__ebufn_1.add(gdstk.Label('NET35', (3.047,1.26), layer=68, texttype=20))
sky130_fd_sc_hd__ebufn_1.add(gdstk.Label('NET35', (2.932,1.26), layer=68, texttype=20))
sky130_fd_sc_hd__ebufn_1.add(gdstk.Label('NET35', (2.817,1.26), layer=68, texttype=20))
sky130_fd_sc_hd__ebufn_1.add(gdstk.Label('NET35', (2.76,1.327), layer=68, texttype=20))
sky130_fd_sc_hd__ebufn_1.add(gdstk.Label('NET35', (2.76,1.462), layer=68, texttype=20))
sky130_fd_sc_hd__ebufn_1.add(gdstk.Label('NET35', (2.76,1.597), layer=68, texttype=20))
sky130_fd_sc_hd__ebufn_1.add(gdstk.Label('NET35', (2.76,1.732), layer=68, texttype=20))
sky130_fd_sc_hd__ebufn_1.add(gdstk.Label('NET39', (1.035,0.55), layer=68, texttype=20))
sky130_fd_sc_hd__ebufn_1.add(gdstk.Label('NET39', (1.035,0.652), layer=68, texttype=20))
sky130_fd_sc_hd__ebufn_1.add(gdstk.Label('NET39', (1.035,0.732), layer=68, texttype=20))
sky130_fd_sc_hd__ebufn_1.add(gdstk.Label('NET39', (1.035,0.8), layer=68, texttype=20))
sky130_fd_sc_hd__ebufn_1.add(gdstk.Label('NET39', (1.035,0.922), layer=68, texttype=20))
sky130_fd_sc_hd__ebufn_1.add(gdstk.Label('NET39', (1.035,1.057), layer=68, texttype=20))
sky130_fd_sc_hd__ebufn_1.add(gdstk.Label('NET39', (1.035,1.192), layer=68, texttype=20))
sky130_fd_sc_hd__ebufn_1.add(gdstk.Label('NET39', (1.035,1.327), layer=68, texttype=20))
sky130_fd_sc_hd__ebufn_1.add(gdstk.Label('NET39', (1.092,1.26), layer=68, texttype=20))
sky130_fd_sc_hd__ebufn_1.add(gdstk.Label('NET39', (1.035,1.462), layer=68, texttype=20))
sky130_fd_sc_hd__ebufn_1.add(gdstk.Label('NET39', (1.035,1.597), layer=68, texttype=20))
sky130_fd_sc_hd__ebufn_1.add(gdstk.Label('NET39', (1.035,1.732), layer=68, texttype=20))
sky130_fd_sc_hd__ebufn_1.add(gdstk.Label('NET39', (1.035,1.862), layer=68, texttype=20))
sky130_fd_sc_hd__ebufn_1.add(gdstk.Label('NET39', (1.035,1.997), layer=68, texttype=20))
sky130_fd_sc_hd__ebufn_1.add(gdstk.Label('NET39', (1.035,2.137), layer=68, texttype=20))
sky130_fd_sc_hd__ebufn_1.add(gdstk.Label('NET39', (1.035,2.22), layer=68, texttype=20))
sky130_fd_sc_hd__ebufn_1.add(gdstk.Label('NET39', (1.035,2.287), layer=68, texttype=20))
sky130_fd_sc_hd__ebufn_1.add(gdstk.Label('NET39', (1.035,2.407), layer=68, texttype=20))
sky130_fd_sc_hd__ebufn_1.add(gdstk.Label('NET39', (1.035,2.535), layer=68, texttype=20))
sky130_fd_sc_hd__ebufn_1.add(gdstk.Label('NET39', (1.207,1.26), layer=68, texttype=20))
sky130_fd_sc_hd__ebufn_1.add(gdstk.Label('NET39', (1.322,1.26), layer=68, texttype=20))
sky130_fd_sc_hd__ebufn_1.add(gdstk.Label('NET39', (1.437,1.26), layer=68, texttype=20))
sky130_fd_sc_hd__ebufn_1.add(gdstk.Label('NET39', (1.552,1.26), layer=68, texttype=20))
sky130_fd_sc_hd__ebufn_1.add(gdstk.Label('NET39', (1.667,1.26), layer=68, texttype=20))
sky130_fd_sc_hd__ebufn_1.add(gdstk.Label('NET39', (1.782,1.26), layer=68, texttype=20))
sky130_fd_sc_hd__ebufn_1.add(gdstk.Label('NET39', (1.897,1.26), layer=68, texttype=20))
sky130_fd_sc_hd__ebufn_1.add(gdstk.Label('NET39', (2.012,1.26), layer=68, texttype=20))
sky130_fd_sc_hd__ebufn_1.add(gdstk.Label('A', (4.14,1.057), layer=68, texttype=20))
sky130_fd_sc_hd__ebufn_1.add(gdstk.Label('A', (4.14,1.192), layer=68, texttype=20))
sky130_fd_sc_hd__ebufn_1.add(gdstk.Label('A', (4.14,1.327), layer=68, texttype=20))
sky130_fd_sc_hd__ebufn_1.add(gdstk.Label('A', (4.14,1.462), layer=68, texttype=20))
sky130_fd_sc_hd__ebufn_1.add(gdstk.Label('A', (4.14,1.597), layer=68, texttype=20))
sky130_fd_sc_hd__ebufn_1.add(gdstk.Label('A', (4.14,1.732), layer=68, texttype=20))
sky130_fd_sc_hd__ebufn_1.add(gdstk.Label('A', (4.14,1.862), layer=68, texttype=20))
sky130_fd_sc_hd__ebufn_1.add(gdstk.Label('A', (4.14,1.997), layer=68, texttype=20))
sky130_fd_sc_hd__ebufn_1.add(gdstk.Label('TE_B', (0.69,1.057), layer=68, texttype=20))
sky130_fd_sc_hd__ebufn_1.add(gdstk.Label('TE_B', (0.69,1.192), layer=68, texttype=20))
sky130_fd_sc_hd__ebufn_1.add(gdstk.Label('TE_B', (0.69,1.327), layer=68, texttype=20))
sky130_fd_sc_hd__ebufn_1.add(gdstk.Label('TE_B', (0.69,1.462), layer=68, texttype=20))
sky130_fd_sc_hd__ebufn_1.add(gdstk.Label('TE_B', (0.69,1.597), layer=68, texttype=20))
sky130_fd_sc_hd__ebufn_1.add(gdstk.Label('TE_B', (0.69,1.732), layer=68, texttype=20))
sky130_fd_sc_hd__ebufn_1.add(gdstk.Label('TE_B', (0.69,1.862), layer=68, texttype=20))
sky130_fd_sc_hd__ebufn_1.add(gdstk.Label('TE_B', (0.69,1.997), layer=68, texttype=20))
sky130_fd_sc_hd__ebufn_1.add(gdstk.Label('NET35', (3.795,0.515), layer=68, texttype=20))
sky130_fd_sc_hd__ebufn_1.add(gdstk.Label('NET35', (3.795,2.595), layer=68, texttype=20))
sky130_fd_sc_hd__ebufn_1.add(gdstk.Label('NET35', (2.76,1.26), layer=68, texttype=20))
sky130_fd_sc_hd__ebufn_1.add(gdstk.Label('NET35', (2.76,1.8), layer=68, texttype=20))
sky130_fd_sc_hd__ebufn_1.add(gdstk.Label('VGND', (4.485,0), layer=68, texttype=20))
sky130_fd_sc_hd__ebufn_1.add(gdstk.Label('NET39', (1.035,0.515), layer=68, texttype=20))
sky130_fd_sc_hd__ebufn_1.add(gdstk.Label('NET39', (1.035,2.595), layer=68, texttype=20))
sky130_fd_sc_hd__ebufn_1.add(gdstk.Label('NET39', (2.07,1.26), layer=68, texttype=20))
sky130_fd_sc_hd__ebufn_1.add(gdstk.Label('VPWR', (1.725,3.33), layer=68, texttype=20))
sky130_fd_sc_hd__ebufn_1.add(gdstk.Label('A', (4.14,0.99), layer=68, texttype=20))
sky130_fd_sc_hd__ebufn_1.add(gdstk.Label('A', (4.14,2.07), layer=68, texttype=20))
sky130_fd_sc_hd__ebufn_1.add(gdstk.Label('TE_B', (0.69,0.99), layer=68, texttype=20))
sky130_fd_sc_hd__ebufn_1.add(gdstk.Label('TE_B', (0.69,2.07), layer=68, texttype=20))
sky130_fd_sc_hd__ebufn_1.add(gdstk.Label('VGND', (2.415,0), layer=68, texttype=5))
sky130_fd_sc_hd__ebufn_1.add(gdstk.Label('VPWR', (2.415,3.33), layer=68, texttype=5))

lib.write_gds('sky130_fd_sc_hd__ebufn_1.gds')
